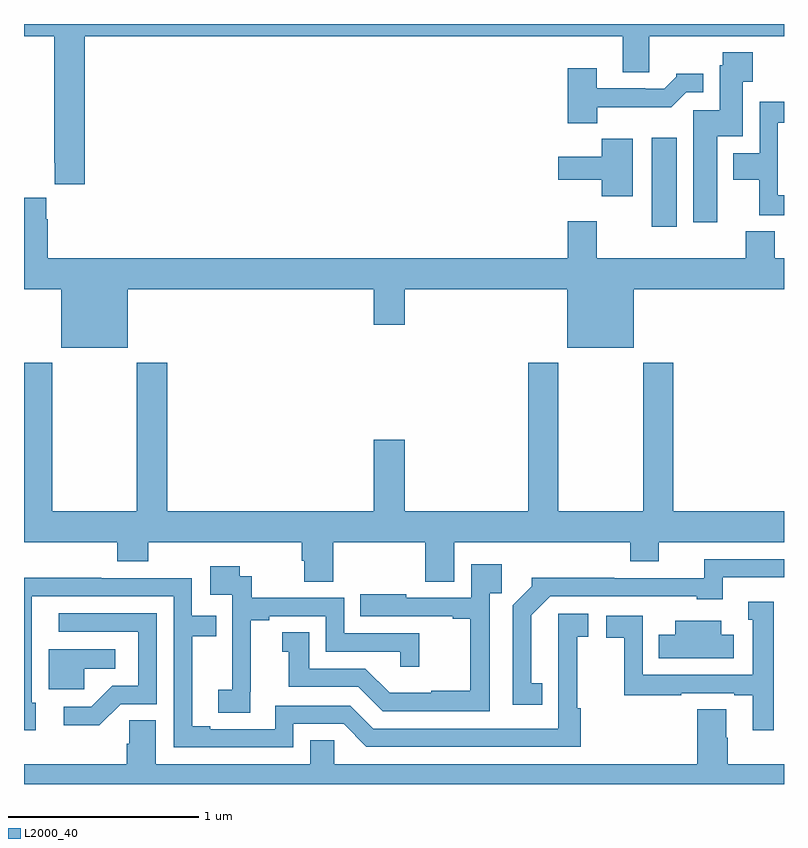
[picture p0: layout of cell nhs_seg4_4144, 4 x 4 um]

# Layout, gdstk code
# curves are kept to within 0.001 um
import gdstk
lib = gdstk.Library(unit=1e-6, precision=1e-09)
def R(c, l, rs):  # rectangles x0, y0, x1, y1
    for r in rs: c.add(gdstk.rectangle(r[:2], r[2:], *l))
def P(c, l, *ps):  # polygons
    for p in ps: c.add(gdstk.Polygon(p, *l))
L2000_40 = (2000, 40)

nhs_seg4_4144 = lib.new_cell('nhs_seg4_4144')
R(nhs_seg4_4144, L2000_40, [(334.304,779.832,334.435,780.301)])
P(nhs_seg4_4144, L2000_40, [(331.319,780.836),(334.151,780.836),(334.151,780.646),(334.291,780.646),(334.291,780.836),(335,780.836),(335,780.9),(331,780.9),(331,780.836),(331.159,780.836),(331.159,780.169),(331.163,780.169),(331.163,780.057),(331.319,780.057)],
  [(334.648,780.308),(334.783,780.308),(334.783,780.595),(334.835,780.595),(334.835,780.751),(334.678,780.751),(334.678,780.684),(334.661,780.684),(334.661,780.447),(334.523,780.447),(334.523,779.856),(334.648,779.856)],
  [(334.018,780.462),(334.407,780.462),(334.485,780.54),(334.576,780.54),(334.576,780.637),(334.434,780.637),(334.434,780.622),(334.37,780.558),(334.271,780.558),(334.271,780.561),(334.015,780.561),(334.015,780.667),(333.863,780.667),(333.863,780.377),(334.018,780.377)],
  [(335,779.998),(334.968,779.998),(334.968,780.381),(335,780.381),(335,780.49),(334.872,780.49),(334.872,780.22),(334.733,780.22),(334.733,780.08),(334.87,780.08),(334.87,779.894),(335,779.894)],
  [(334.204,780.295),(334.042,780.295),(334.042,780.202),(333.813,780.202),(333.813,780.08),(334.04,780.08),(334.04,779.994),(334.204,779.994)],
  [(331.546,779.504),(332.84,779.504),(332.84,779.316),(333.004,779.316),(333.004,779.504),(333.86,779.504),(333.86,779.195),(334.21,779.195),(334.21,779.504),(335,779.504),(335,779.668),(334.951,779.668),(334.951,779.809),(334.799,779.809),(334.799,779.668),(334.015,779.668),(334.015,779.863),(333.863,779.863),(333.863,779.668),(331.124,779.668),(331.124,779.873),(331.117,779.873),(331.117,779.986),(331,779.986),(331,779.504),(331.196,779.504),(331.196,779.195),(331.546,779.195)],
  [(331.655,778.172),(332.462,778.172),(332.462,778.074),(332.474,778.074),(332.474,777.964),(332.627,777.964),(332.627,778.172),(333.113,778.172),(333.113,777.964),(333.265,777.964),(333.265,778.172),(334.19,778.172),(334.19,778.073),(334.342,778.073),(334.342,778.172),(335,778.172),(335,778.336),(334.418,778.336),(334.418,779.116),(334.258,779.116),(334.258,778.336),(333.813,778.336),(333.813,779.116),(333.653,779.116),(333.653,778.336),(333.004,778.336),(333.004,778.711),(332.84,778.711),(332.84,778.336),(331.754,778.336),(331.754,779.116),(331.594,779.116),(331.594,778.336),(331.149,778.336),(331.149,779.116),(331,779.116),(331,778.172),(331.49,778.172),(331.49,778.073),(331.655,778.073)],
  [(333.728,777.431),(333.67,777.431),(333.67,777.787),(333.771,777.888),(334.542,777.888),(334.542,777.872),(334.678,777.872),(334.678,777.987),(335,777.987),(335,778.083),(334.579,778.083),(334.579,777.984),(334.106,777.984),(334.106,777.986),(333.672,777.986),(333.672,777.941),(333.573,777.842),(333.573,777.318),(333.728,777.318)],
  [(333.45,777.905),(333.515,777.905),(333.515,778.057),(333.354,778.057),(333.354,777.879),(333.013,777.879),(333.013,777.898),(332.77,777.898),(332.77,777.783),(333.257,777.783),(333.257,777.771),(333.349,777.771),(333.349,777.391),(333.143,777.391),(333.143,777.379),(332.924,777.379),(332.796,777.507),(332.5,777.507),(332.5,777.698),(332.36,777.698),(332.36,777.595),(332.393,777.595),(332.393,777.411),(332.76,777.411),(332.889,777.282),(333.45,777.282)],
  [(332.192,777.385),(332.194,777.385),(332.194,777.763),(332.29,777.763),(332.29,777.783),(332.589,777.783),(332.589,777.597),(332.979,777.597),(332.979,777.516),(333.08,777.516),(333.08,777.693),(332.685,777.693),(332.685,777.879),(332.198,777.879),(332.198,777.993),(332.136,777.993),(332.136,778.045),(331.98,778.045),(331.98,777.897),(332.097,777.897),(332.097,777.593),(332.096,777.593),(332.096,777.396),(332.022,777.396),(332.022,777.274),(332.192,777.274)],
  [(332.418,777.216),(332.682,777.216),(332.802,777.096),(333.929,777.096),(333.929,777.299),(333.912,777.299),(333.912,777.675),(333.97,777.675),(333.97,777.796),(333.812,777.796),(333.813,777.192),(332.838,777.192),(332.718,777.312),(332.322,777.312),(332.322,777.189),(331.981,777.189),(331.981,777.204),(331.885,777.204),(331.885,777.678),(332.012,777.678),(332.012,777.786),(331.884,777.786),(331.884,777.984),(331.406,777.984),(331.406,777.986),(331,777.986),(331,777.183),(331.063,777.183),(331.063,777.327),(331.041,777.327),(331.041,777.888),(331.788,777.888),(331.788,777.093),(332.418,777.093)],
  [(334.945,777.859),(334.811,777.859),(334.811,777.765),(334.836,777.765),(334.836,777.474),(334.257,777.474),(334.257,777.786),(334.065,777.786),(334.065,777.67),(334.159,777.67),(334.159,777.366),(334.46,777.366),(334.46,777.378),(334.739,777.378),(334.739,777.366),(334.835,777.366),(334.835,777.183),(334.945,777.183)],
  [(331.509,777.321),(331.698,777.321),(331.698,777.798),(331.182,777.798),(331.182,777.702),(331.602,777.702),(331.602,777.417),(331.464,777.417),(331.353,777.306),(331.209,777.306),(331.209,777.209),(331.396,777.209)],
  [(334.735,777.685),(334.669,777.685),(334.669,777.76),(334.427,777.76),(334.427,777.685),(334.342,777.685),(334.342,777.563),(334.735,777.563)],
  [(331.317,777.506),(331.48,777.506),(331.48,777.61),(331.13,777.61),(331.13,777.399),(331.317,777.399)],
  [(332.634,777.131),(332.507,777.131),(332.507,777.004),(331.693,777.004),(331.693,777.236),(331.554,777.236),(331.554,777.113),(331.541,777.113),(331.541,777.004),(331,777.004),(331,776.9),(335,776.9),(335,777.004),(334.704,777.004),(334.704,777.143),(334.696,777.143),(334.696,777.293),(334.544,777.293),(334.544,777.004),(332.634,777.004)])

lib.write_gds('nhs_seg4_4144.gds')
